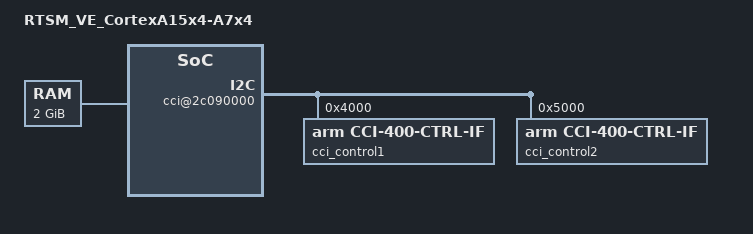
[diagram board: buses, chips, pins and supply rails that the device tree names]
/*
 * ARM Ltd. Fast Models
 *
 * Versatile Express (VE) system model
 * ARMCortexA15x4CT
 * ARMCortexA7x4CT
 * RTSM_VE_Cortex_A15x4_A7x4.lisa
 */

/dts-v1/;

/memreserve/ 0xff000000 0x01000000;

/ {
	model = "RTSM_VE_CortexA15x4-A7x4";
	arm,vexpress,site = <0xf>;
	compatible = "arm,rtsm_ve,cortex_a15x4_a7x4", "arm,vexpress";
	interrupt-parent = <&gic>;
	#address-cells = <2>;
	#size-cells = <2>;

	chosen { };

	aliases {
		serial0 = &v2m_serial0;
		serial1 = &v2m_serial1;
		serial2 = &v2m_serial2;
		serial3 = &v2m_serial3;
	};

	clusters {
		#address-cells = <1>;
		#size-cells = <0>;

		cluster0: cluster@0 {
			reg = <0>;
//			freqs = <500000000 600000000 700000000 800000000 900000000 1000000000 1100000000 1200000000>;
			cores {
				#address-cells = <1>;
				#size-cells = <0>;

				core0: core@0 {
					reg = <0>;
				};

				core1: core@1 {
					reg = <1>;
				};

				core2: core@2 {
					reg = <2>;
				};

				core3: core@3 {
					reg = <3>;
				};

			};
		};

		cluster1: cluster@1 {
			reg = <1>;
//			freqs = <350000000 400000000 500000000 600000000 700000000 800000000 900000000 1000000000>;
			cores {
				#address-cells = <1>;
				#size-cells = <0>;

				core4: core@0 {
					reg = <0>;
				};

				core5: core@1 {
					reg = <1>;
				};

				core6: core@2 {
					reg = <2>;
				};
				
				core7: core@3 {
					reg = <3>;
				};
				
			};
		};
	};

	cpus {
		#address-cells = <1>;
		#size-cells = <0>;

		cpu0: cpu@0 {
			device_type = "cpu";
			compatible = "arm,cortex-a15";
			reg = <0>;
			cluster = <&cluster0>;
			core = <&core0>;
//			clock-frequency = <1000000000>;
			cci-control-port = <&cci_control1>;
		};

		cpu1: cpu@1 {
			device_type = "cpu";
			compatible = "arm,cortex-a15";
			reg = <1>;
			cluster = <&cluster0>;
			core = <&core1>;
//			clock-frequency = <1000000000>;
			cci-control-port = <&cci_control1>;
		};

		cpu2: cpu@2 {
			device_type = "cpu";
			compatible = "arm,cortex-a15";
			reg = <2>;
			cluster = <&cluster0>;
			core = <&core2>;
//			clock-frequency = <1000000000>;
			cci-control-port = <&cci_control1>;
		};

		cpu3: cpu@3 {
			device_type = "cpu";
			compatible = "arm,cortex-a15";
			reg = <3>;
			cluster = <&cluster0>;
			core = <&core3>;
//			clock-frequency = <1000000000>;
			cci-control-port = <&cci_control1>;
		};

		cpu4: cpu@4 {
			device_type = "cpu";
			compatible = "arm,cortex-a7";
			reg = <0x100>;
			cluster = <&cluster1>;
			core = <&core4>;
//			clock-frequency = <800000000>;
			cci-control-port = <&cci_control2>;
		};

		cpu5: cpu@5 {
			device_type = "cpu";
			compatible = "arm,cortex-a7";
			reg = <0x101>;
			cluster = <&cluster1>;
			core = <&core5>;
//			clock-frequency = <800000000>;
			cci-control-port = <&cci_control2>;
		};
		
		cpu6: cpu@6 {
			device_type = "cpu";
			compatible = "arm,cortex-a7";
			reg = <0x102>;
			cluster = <&cluster1>;
			core = <&core6>;
//			clock-frequency = <800000000>;
			cci-control-port = <&cci_control2>;
		};
		
		cpu7: cpu@7 {
			device_type = "cpu";
			compatible = "arm,cortex-a7";
			reg = <0x103>;
			cluster = <&cluster1>;
			core = <&core7>;
//			clock-frequency = <800000000>;
			cci-control-port = <&cci_control2>;
		};
	};

	memory@80000000 {
		device_type = "memory";
		reg = <0 0x80000000 0 0x80000000>;
	};

	cci@2c090000 {
		compatible = "arm,cci-400", "arm,cci";
		#address-cells = <1>;
		#size-cells = <1>;
		reg = <0 0x2c090000 0 0x1000>;
		ranges = <0x0 0x0 0x2c090000 0x10000>;

		cci_control1: slave-if@4000 {
			compatible = "arm,cci-400-ctrl-if";
			interface-type = "ace";
			reg = <0x4000 0x1000>;
		};

		cci_control2: slave-if@5000 {
			compatible = "arm,cci-400-ctrl-if";
			interface-type = "ace";
			reg = <0x5000 0x1000>;
		};
	};

	dcscb@60000000 {
		compatible = "arm,rtsm,dcscb";
		reg = <0 0x60000000 0 0x1000>;
	};

	gic: interrupt-controller@2c001000 {
		compatible = "arm,cortex-a15-gic", "arm,cortex-a9-gic";
		#interrupt-cells = <3>;
		#address-cells = <0>;
		interrupt-controller;
		reg = <0 0x2c001000 0 0x1000>,
		      <0 0x2c002000 0 0x1000>,
		      <0 0x2c004000 0 0x2000>,
		      <0 0x2c006000 0 0x2000>;
		interrupts = <1 9 0xf04>;

		gic-cpuif@0 {
			compatible = "arm,gic-cpuif";
			cpuif-id = <0>;
			cpu = <&cpu0>;
		};
		gic-cpuif@1 {
			compatible = "arm,gic-cpuif";
			cpuif-id = <1>;
			cpu = <&cpu1>;
		};
		gic-cpuif@2 {
			compatible = "arm,gic-cpuif";
			cpuif-id = <2>;
			cpu = <&cpu2>;
		};
		gic-cpuif@3 {
			compatible = "arm,gic-cpuif";
			cpuif-id = <3>;
			cpu = <&cpu3>;
		};
		gic-cpuif@4 {
			compatible = "arm,gic-cpuif";
			cpuif-id = <4>;
			cpu = <&cpu4>;
		};
		gic-cpuif@5 {
			compatible = "arm,gic-cpuif";
			cpuif-id = <5>;
			cpu = <&cpu5>;
		};
		gic-cpuif@6 {
			compatible = "arm,gic-cpuif";
			cpuif-id = <6>;
			cpu = <&cpu6>;
		};
		gic-cpuif@7 {
			compatible = "arm,gic-cpuif";
			cpuif-id = <7>;
			cpu = <&cpu7>;
		};
	};

	timer {
		compatible = "arm,armv7-timer";
		interrupts = <1 13 0xf08>,
			     <1 14 0xf08>,
			     <1 11 0xf08>,
			     <1 10 0xf08>;
	};

	dcc {
		compatible = "arm,vexpress,config-bus";
		arm,vexpress,config-bridge = <&v2m_sysreg>;

		osc@0 {
			/* ACLK clock to the AXI master port on the test chip */
			compatible = "arm,vexpress-osc";
			arm,vexpress-sysreg,func = <1 0>;
			freq-range = <30000000 50000000>;
			#clock-cells = <0>;
			clock-output-names = "extsaxiclk";
		};

		oscclk1: osc@1 {
			/* Reference clock for the CLCD */
			compatible = "arm,vexpress-osc";
			arm,vexpress-sysreg,func = <1 1>;
			freq-range = <10000000 80000000>;
			#clock-cells = <0>;
			clock-output-names = "clcdclk";
		};

		smbclk: oscclk2: osc@2 {
			/* Reference clock for the test chip internal PLLs */
			compatible = "arm,vexpress-osc";
			arm,vexpress-sysreg,func = <1 2>;
			freq-range = <33000000 100000000>;
			#clock-cells = <0>;
			clock-output-names = "tcrefclk";
		};
	};

	smb {
		compatible = "simple-bus";

		#address-cells = <2>;
		#size-cells = <1>;
		ranges = <0 0 0 0x08000000 0x04000000>,
			 <1 0 0 0x14000000 0x04000000>,
			 <2 0 0 0x18000000 0x04000000>,
			 <3 0 0 0x1c000000 0x04000000>,
			 <4 0 0 0x0c000000 0x04000000>,
			 <5 0 0 0x10000000 0x04000000>;

		#interrupt-cells = <1>;
		interrupt-map-mask = <0 0 63>;
		interrupt-map = <0 0  0 &gic 0  0 4>,
				<0 0  1 &gic 0  1 4>,
				<0 0  2 &gic 0  2 4>,
				<0 0  3 &gic 0  3 4>,
				<0 0  4 &gic 0  4 4>,
				<0 0  5 &gic 0  5 4>,
				<0 0  6 &gic 0  6 4>,
				<0 0  7 &gic 0  7 4>,
				<0 0  8 &gic 0  8 4>,
				<0 0  9 &gic 0  9 4>,
				<0 0 10 &gic 0 10 4>,
				<0 0 11 &gic 0 11 4>,
				<0 0 12 &gic 0 12 4>,
				<0 0 13 &gic 0 13 4>,
				<0 0 14 &gic 0 14 4>,
				<0 0 15 &gic 0 15 4>,
				<0 0 16 &gic 0 16 4>,
				<0 0 17 &gic 0 17 4>,
				<0 0 18 &gic 0 18 4>,
				<0 0 19 &gic 0 19 4>,
				<0 0 20 &gic 0 20 4>,
				<0 0 21 &gic 0 21 4>,
				<0 0 22 &gic 0 22 4>,
				<0 0 23 &gic 0 23 4>,
				<0 0 24 &gic 0 24 4>,
				<0 0 25 &gic 0 25 4>,
				<0 0 26 &gic 0 26 4>,
				<0 0 27 &gic 0 27 4>,
				<0 0 28 &gic 0 28 4>,
				<0 0 29 &gic 0 29 4>,
				<0 0 30 &gic 0 30 4>,
				<0 0 31 &gic 0 31 4>,
				<0 0 32 &gic 0 32 4>,
				<0 0 33 &gic 0 33 4>,
				<0 0 34 &gic 0 34 4>,
				<0 0 35 &gic 0 35 4>,
				<0 0 36 &gic 0 36 4>,
				<0 0 37 &gic 0 37 4>,
				<0 0 38 &gic 0 38 4>,
				<0 0 39 &gic 0 39 4>,
				<0 0 40 &gic 0 40 4>,
				<0 0 41 &gic 0 41 4>,
				<0 0 42 &gic 0 42 4>;

		/include/ "rtsm_ve-motherboard.dtsi"
	};
};

/include/ "clcd-panels.dtsi"
